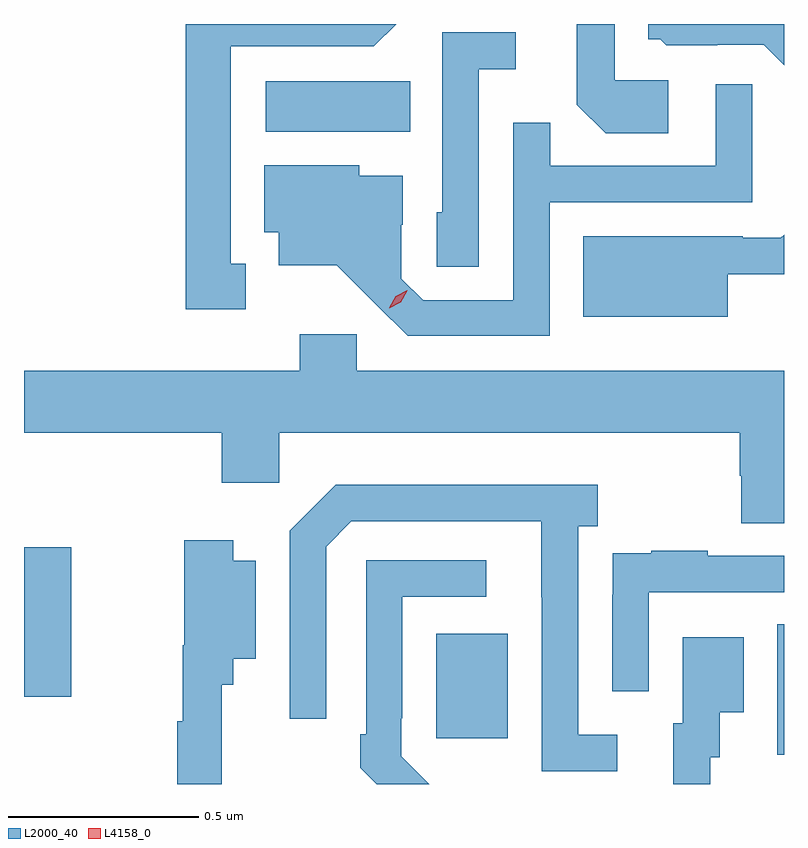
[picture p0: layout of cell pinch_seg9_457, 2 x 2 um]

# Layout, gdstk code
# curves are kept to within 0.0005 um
import gdstk
lib = gdstk.Library(unit=1e-6, precision=1e-09)
def R(c, l, rs):  # rectangles x0, y0, x1, y1
    for r in rs: c.add(gdstk.rectangle(r[:2], r[2:], *l))
def P(c, l, *ps):  # polygons
    for p in ps: c.add(gdstk.Polygon(p, *l))
L2000_40 = (2000, 40)
L4158_0 = (4158, 0)

pinch_seg9_457 = lib.new_cell('pinch_seg9_457')
R(pinch_seg9_457, L2000_40, [(240.398,1222.213,240.416,1222.556), (239.501,1222.257,239.689,1222.531), (238.416,1222.365,238.54,1222.759), (239.052,1223.852,239.432,1223.986)])
P(pinch_seg9_457, L2000_40, [(240.112,1223.988),(239.97,1223.988),(239.97,1224.136),(239.871,1224.136),(239.871,1223.924),(239.947,1223.848),(240.112,1223.848)],
  [(238.999,1223.505),(238.96,1223.505),(238.96,1224.078),(239.337,1224.078),(239.395,1224.136),(238.842,1224.136),(238.842,1223.385),(238.999,1223.385)],
  [(240.416,1224.136),(240.059,1224.136),(240.059,1224.096),(240.09,1224.096),(240.106,1224.08),(240.24,1224.08),(240.24,1224.081),(240.363,1224.081),(240.416,1224.028)],
  [(239.613,1224.017),(239.71,1224.017),(239.71,1224.114),(239.517,1224.114),(239.517,1223.64),(239.502,1223.64),(239.502,1223.497),(239.613,1223.497)],
  [(239.799,1223.667),(240.333,1223.667),(240.333,1223.977),(240.237,1223.977),(240.237,1223.763),(239.801,1223.763),(239.801,1223.876),(239.703,1223.876),(239.703,1223.409),(239.466,1223.409),(239.409,1223.466),(239.409,1223.608),(239.413,1223.608),(239.413,1223.737),(239.298,1223.737),(239.298,1223.764),(239.048,1223.764),(239.048,1223.588),(239.087,1223.588),(239.087,1223.501),(239.239,1223.501),(239.426,1223.316),(239.799,1223.316)],
  [(240.268,1223.477),(240.416,1223.477),(240.416,1223.582),(240.408,1223.574),(240.308,1223.574),(240.308,1223.578),(239.888,1223.578),(239.888,1223.366),(240.268,1223.366)],
  [(239.292,1223.32),(239.141,1223.32),(239.141,1223.224),(238.416,1223.224),(238.416,1223.06),(238.937,1223.06),(238.937,1222.929),(239.088,1222.929),(239.088,1223.06),(240.299,1223.06),(240.299,1222.947),(240.304,1222.947),(240.304,1222.822),(240.416,1222.822),(240.416,1223.224),(239.292,1223.224)],
  [(239.977,1222.266),(239.874,1222.266),(239.874,1222.814),(239.926,1222.814),(239.926,1222.924),(239.236,1222.924),(239.115,1222.803),(239.115,1222.308),(239.211,1222.308),(239.211,1222.761),(239.277,1222.827),(239.777,1222.827),(239.777,1222.627),(239.778,1222.627),(239.778,1222.17),(239.977,1222.17)],
  [(238.937,1222.397),(238.966,1222.397),(238.966,1222.466),(239.026,1222.466),(239.026,1222.723),(238.966,1222.723),(238.966,1222.777),(238.838,1222.777),(238.838,1222.501),(238.834,1222.501),(238.834,1222.301),(238.819,1222.301),(238.819,1222.136),(238.937,1222.136)],
  [(240.06,1222.641),(240.416,1222.641),(240.416,1222.737),(240.215,1222.737),(240.215,1222.75),(240.067,1222.75),(240.067,1222.743),(239.965,1222.743),(239.965,1222.634),(239.964,1222.634),(239.964,1222.38),(240.06,1222.38)],
  [(239.409,1222.209),(239.409,1222.309),(239.412,1222.309),(239.412,1222.629),(239.632,1222.629),(239.632,1222.725),(239.316,1222.725),(239.316,1222.267),(239.301,1222.267),(239.301,1222.179),(239.344,1222.136),(239.483,1222.136)],
  [(240.222,1222.206),(240.247,1222.206),(240.247,1222.325),(240.31,1222.325),(240.31,1222.522),(240.149,1222.522),(240.149,1222.296),(240.125,1222.296),(240.125,1222.136),(240.222,1222.136)])
P(pinch_seg9_457, L4158_0, [(239.377,1223.388),(239.377,1223.389),(239.394,1223.419),(239.424,1223.435),(239.424,1223.435),(239.424,1223.434),(239.407,1223.404),(239.377,1223.388)])

lib.write_gds('pinch_seg9_457.gds')
